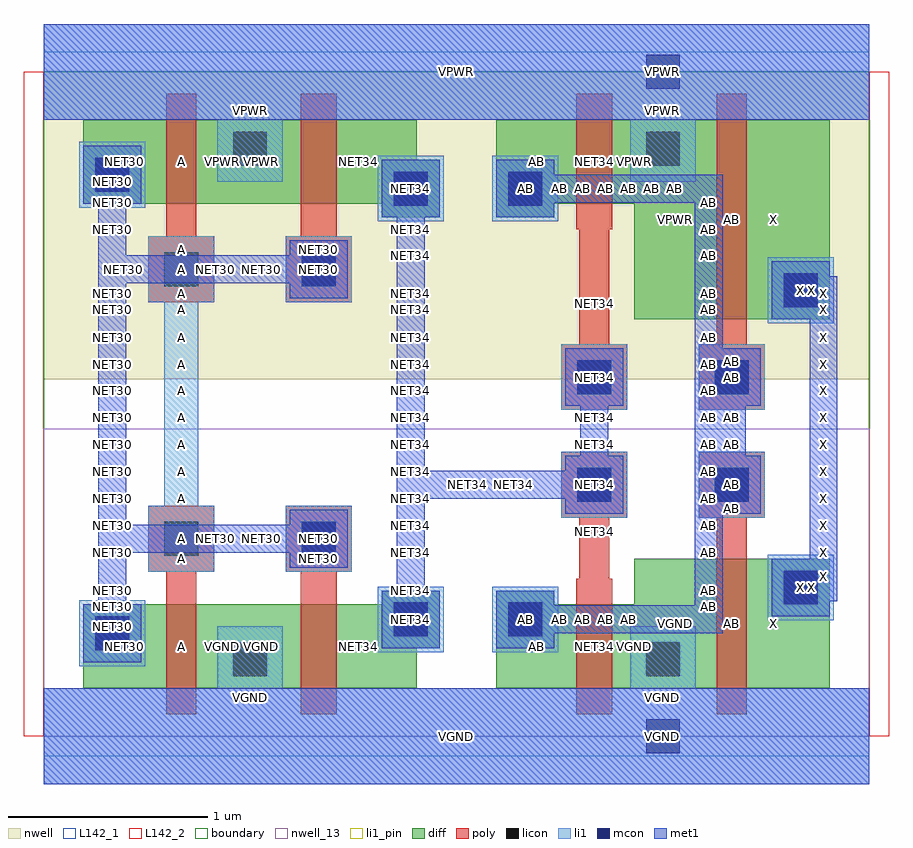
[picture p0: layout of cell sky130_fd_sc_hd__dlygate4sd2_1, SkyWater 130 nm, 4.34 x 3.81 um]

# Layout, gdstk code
import gdstk
lib = gdstk.Library(unit=1e-6, precision=1e-09)
def R(c, l, rs):  # rectangles x0, y0, x1, y1
    for r in rs: c.add(gdstk.rectangle(r[:2], r[2:], *l))
def P(c, l, *ps):  # polygons
    for p in ps: c.add(gdstk.Polygon(p, *l))
nwell_13 = (64, 13)
nwell = (64, 20)
diff = (65, 20)
poly = (66, 20)
licon = (66, 44)
li1_pin = (67, 16)
li1 = (67, 20)
mcon = (67, 44)
met1 = (68, 20)
L142_1 = (142, 1)
L142_2 = (142, 2)
boundary = (235, 4)

sky130_fd_sc_hd__dlygate = lib.new_cell('sky130_fd_sc_hd__dlygate4sd2_1')
R(sky130_fd_sc_hd__dlygate, nwell_13, [(0,0,4.14,1.54)])
R(sky130_fd_sc_hd__dlygate, nwell, [(0,1.79,4.14,3.33)])
R(sky130_fd_sc_hd__dlygate, diff, [(0.2,0.24,1.87,0.66), (0.2,0.24,0.615,0.66), (0.615,0.24,1.29,0.66), (3.375,0.24,3.94,0.89), (3.375,2.09,3.94,3.09), (0.2,2.67,1.87,3.09), (0.2,2.67,0.615,3.09), (0.615,2.67,1.29,3.09)])
P(sky130_fd_sc_hd__dlygate, diff, [(2.27,0.24),(2.27,0.66),(2.96,0.66),(2.96,0.89),(3.94,0.89),(3.94,0.24)],
  [(2.96,2.09),(2.96,2.67),(2.27,2.67),(2.27,3.09),(3.94,3.09),(3.94,2.09)],
  [(2.67,0.24),(2.67,0.66),(2.96,0.66),(2.96,0.89),(3.375,0.89),(3.375,0.24)],
  [(2.27,0.24),(2.27,0.73),(2.56,0.73),(2.56,0.66),(2.67,0.66),(2.67,0.24)],
  [(1.29,0.24),(1.29,0.66),(1.695,0.66),(1.695,0.73),(1.985,0.73),(1.985,0.44),(1.87,0.44),(1.87,0.24)],
  [(2.96,2.09),(2.96,2.67),(2.67,2.67),(2.67,3.09),(3.375,3.09),(3.375,2.09)],
  [(2.27,2.6),(2.27,3.09),(2.67,3.09),(2.67,2.67),(2.56,2.67),(2.56,2.6)],
  [(1.695,2.6),(1.695,2.67),(1.29,2.67),(1.29,3.09),(1.87,3.09),(1.87,2.89),(1.985,2.89),(1.985,2.6)])
R(sky130_fd_sc_hd__dlygate, poly, [(1.29,0.79,1.305,0.825), (1.455,0.79,1.47,0.825), (1.29,2.505,1.305,2.54), (1.455,2.505,1.47,2.54)])
P(sky130_fd_sc_hd__dlygate, poly, [(1.29,0.11),(1.29,0.79),(1.305,0.79),(1.305,0.825),(1.215,0.825),(1.215,1.155),(1.545,1.155),(1.545,0.825),(1.455,0.825),(1.455,0.79),(1.47,0.79),(1.47,0.11)],
  [(1.215,2.175),(1.215,2.505),(1.305,2.505),(1.305,2.54),(1.29,2.54),(1.29,3.22),(1.47,3.22),(1.47,2.54),(1.455,2.54),(1.455,2.505),(1.545,2.505),(1.545,2.175)],
  [(0.615,0.11),(0.615,0.825),(0.525,0.825),(0.525,1.155),(0.855,1.155),(0.855,0.825),(0.765,0.825),(0.765,0.11)],
  [(0.525,2.175),(0.525,2.505),(0.615,2.505),(0.615,3.22),(0.765,3.22),(0.765,2.505),(0.855,2.505),(0.855,2.175)],
  [(3.375,0.11),(3.375,1.095),(3.285,1.095),(3.285,1.425),(3.615,1.425),(3.615,1.095),(3.525,1.095),(3.525,0.11)],
  [(3.285,1.635),(3.285,1.965),(3.375,1.965),(3.375,3.22),(3.525,3.22),(3.525,1.965),(3.615,1.965),(3.615,1.635)],
  [(2.67,0.11),(2.67,0.79),(2.685,0.79),(2.685,1.095),(2.595,1.095),(2.595,1.425),(2.925,1.425),(2.925,1.095),(2.835,1.095),(2.835,0.79),(2.85,0.79),(2.85,0.11)],
  [(2.595,1.635),(2.595,1.965),(2.685,1.965),(2.685,2.54),(2.67,2.54),(2.67,3.22),(2.85,3.22),(2.85,2.54),(2.835,2.54),(2.835,1.965),(2.925,1.965),(2.925,1.635)])
R(sky130_fd_sc_hd__dlygate, licon, [(0.95,0.3,1.12,0.47), (3.02,0.3,3.19,0.47), (0.26,0.43,0.43,0.6), (1.755,0.5,1.925,0.67), (2.33,0.5,2.5,0.67), (3.71,0.66,3.88,0.83), (0.605,0.905,0.775,1.075), (1.295,0.905,1.465,1.075), (2.675,1.175,2.845,1.345), (3.365,1.175,3.535,1.345), (2.675,1.715,2.845,1.885), (3.365,1.715,3.535,1.885), (3.71,2.15,3.88,2.32), (0.605,2.255,0.775,2.425), (1.295,2.255,1.465,2.425), (1.755,2.66,1.925,2.83), (2.33,2.66,2.5,2.83), (0.26,2.73,0.43,2.9), (0.95,2.86,1.12,3.03), (3.02,2.86,3.19,3.03)])
R(sky130_fd_sc_hd__dlygate, li1_pin, [(0,-0.24,4.14,0.24), (3.63,0.58,3.96,0.91), (0,3.09,4.14,3.57)])
P(sky130_fd_sc_hd__dlygate, li1_pin, [(0.525,0.825),(0.525,1.155),(0.605,1.155),(0.605,2.175),(0.525,2.175),(0.525,2.505),(0.855,2.505),(0.855,2.175),(0.775,2.175),(0.775,1.155),(0.855,1.155),(0.855,0.825)])
R(sky130_fd_sc_hd__dlygate, li1, [(0.18,0.35,0.51,0.68), (1.675,0.42,2.005,0.75), (2.25,0.42,2.58,0.75), (3.63,0.58,3.96,0.91), (1.215,0.825,1.545,1.155), (2.595,1.095,2.925,1.425), (3.285,1.095,3.615,1.425), (2.595,1.635,2.925,1.965), (3.285,1.635,3.615,1.965), (3.63,2.07,3.96,2.4), (1.215,2.175,1.545,2.505), (1.675,2.58,2.005,2.91), (2.25,2.58,2.58,2.91), (0.18,2.65,0.51,2.98)])
P(sky130_fd_sc_hd__dlygate, li1, [(0.87,2.78),(0.87,3.09),(0,3.09),(0,3.57),(4.14,3.57),(4.14,3.09),(3.27,3.09),(3.27,2.78),(2.94,2.78),(2.94,3.09),(1.2,3.09),(1.2,2.78)],
  [(0,-0.24),(0,0.24),(0.87,0.24),(0.87,0.55),(1.2,0.55),(1.2,0.24),(2.94,0.24),(2.94,0.55),(3.27,0.55),(3.27,0.24),(4.14,0.24),(4.14,-0.24)],
  [(0.525,0.825),(0.525,1.155),(0.605,1.155),(0.605,2.175),(0.525,2.175),(0.525,2.505),(0.855,2.505),(0.855,2.175),(0.775,2.175),(0.775,1.155),(0.855,1.155),(0.855,0.825)])
R(sky130_fd_sc_hd__dlygate, mcon, [(3.02,-0.085,3.19,0.085), (0.26,0.43,0.43,0.6), (1.755,0.5,1.925,0.67), (2.33,0.5,2.5,0.67), (3.71,0.66,3.88,0.83), (1.295,0.905,1.465,1.075), (2.675,1.175,2.845,1.345), (3.365,1.175,3.535,1.345), (2.675,1.715,2.845,1.885), (3.365,1.715,3.535,1.885), (3.71,2.15,3.88,2.32), (1.295,2.255,1.465,2.425), (1.755,2.66,1.925,2.83), (2.33,2.66,2.5,2.83), (0.26,2.73,0.43,2.9), (3.02,3.245,3.19,3.415)])
R(sky130_fd_sc_hd__dlygate, met1, [(0,-0.24,4.14,0.24), (0,3.09,4.14,3.57)])
P(sky130_fd_sc_hd__dlygate, met1, [(0.2,0.37),(0.2,0.66),(0.275,0.66),(0.275,2.67),(0.2,2.67),(0.2,2.96),(0.49,2.96),(0.49,2.67),(0.415,2.67),(0.415,2.41),(1.235,2.41),(1.235,2.485),(1.525,2.485),(1.525,2.195),(1.235,2.195),(1.235,2.27),(0.415,2.27),(0.415,1.06),(1.235,1.06),(1.235,1.135),(1.525,1.135),(1.525,0.845),(1.235,0.845),(1.235,0.92),(0.415,0.92),(0.415,0.66),(0.49,0.66),(0.49,0.37)],
  [(2.27,0.44),(2.27,0.73),(2.56,0.73),(2.56,0.655),(3.265,0.655),(3.265,2.675),(2.56,2.675),(2.56,2.6),(2.27,2.6),(2.27,2.89),(2.56,2.89),(2.56,2.815),(3.405,2.815),(3.405,1.945),(3.595,1.945),(3.595,1.655),(3.52,1.655),(3.52,1.405),(3.595,1.405),(3.595,1.115),(3.405,1.115),(3.405,0.515),(2.56,0.515),(2.56,0.44)],
  [(3.65,0.6),(3.65,0.89),(3.84,0.89),(3.84,2.09),(3.65,2.09),(3.65,2.38),(3.94,2.38),(3.94,2.305),(3.98,2.305),(3.98,0.675),(3.94,0.675),(3.94,0.6)],
  [(1.695,0.44),(1.695,0.73),(1.77,0.73),(1.77,2.6),(1.695,2.6),(1.695,2.89),(1.985,2.89),(1.985,2.6),(1.91,2.6),(1.91,1.33),(2.615,1.33),(2.615,1.405),(2.69,1.405),(2.69,1.655),(2.615,1.655),(2.615,1.945),(2.905,1.945),(2.905,1.655),(2.83,1.655),(2.83,1.405),(2.905,1.405),(2.905,1.115),(2.615,1.115),(2.615,1.19),(1.91,1.19),(1.91,0.73),(1.985,0.73),(1.985,0.44)])
R(sky130_fd_sc_hd__dlygate, L142_1, [(0,-0.1,4.14,0), (0,3.33,4.14,3.43)])
R(sky130_fd_sc_hd__dlygate, L142_2, [(-0.1,0,0,3.33), (4.14,0,4.24,3.33)])
R(sky130_fd_sc_hd__dlygate, boundary, [(0,0,4.14,3.33)])
sky130_fd_sc_hd__dlygate.add(gdstk.Label('VGND', (3.167,0.565), layer=65, texttype=20))
sky130_fd_sc_hd__dlygate.add(gdstk.Label('X', (3.657,0.565), layer=65, texttype=20))
sky130_fd_sc_hd__dlygate.add(gdstk.Label('NET30', (0.407,0.45), layer=65, texttype=20))
sky130_fd_sc_hd__dlygate.add(gdstk.Label('VGND', (0.897,0.45), layer=65, texttype=20))
sky130_fd_sc_hd__dlygate.add(gdstk.Label('VGND', (1.09,0.45), layer=65, texttype=20))
sky130_fd_sc_hd__dlygate.add(gdstk.Label('NET34', (1.58,0.45), layer=65, texttype=20))
sky130_fd_sc_hd__dlygate.add(gdstk.Label('AB', (2.47,0.45), layer=65, texttype=20))
sky130_fd_sc_hd__dlygate.add(gdstk.Label('VGND', (2.96,0.45), layer=65, texttype=20))
sky130_fd_sc_hd__dlygate.add(gdstk.Label('VGND', (3.167,0.565), layer=65, texttype=20))
sky130_fd_sc_hd__dlygate.add(gdstk.Label('X', (3.657,0.565), layer=65, texttype=20))
sky130_fd_sc_hd__dlygate.add(gdstk.Label('NET30', (0.407,0.45), layer=65, texttype=20))
sky130_fd_sc_hd__dlygate.add(gdstk.Label('VGND', (0.897,0.45), layer=65, texttype=20))
sky130_fd_sc_hd__dlygate.add(gdstk.Label('VGND', (1.09,0.45), layer=65, texttype=20))
sky130_fd_sc_hd__dlygate.add(gdstk.Label('NET34', (1.58,0.45), layer=65, texttype=20))
sky130_fd_sc_hd__dlygate.add(gdstk.Label('AB', (2.47,0.45), layer=65, texttype=20))
sky130_fd_sc_hd__dlygate.add(gdstk.Label('VGND', (2.96,0.45), layer=65, texttype=20))
sky130_fd_sc_hd__dlygate.add(gdstk.Label('VGND', (3.105,0.385), layer=65, texttype=20))
sky130_fd_sc_hd__dlygate.add(gdstk.Label('VGND', (1.035,0.385), layer=65, texttype=20))
sky130_fd_sc_hd__dlygate.add(gdstk.Label('X', (3.795,0.745), layer=65, texttype=20))
sky130_fd_sc_hd__dlygate.add(gdstk.Label('NET30', (0.345,0.515), layer=65, texttype=20))
sky130_fd_sc_hd__dlygate.add(gdstk.Label('NET34', (1.84,0.585), layer=65, texttype=20))
sky130_fd_sc_hd__dlygate.add(gdstk.Label('AB', (2.415,0.585), layer=65, texttype=20))
sky130_fd_sc_hd__dlygate.add(gdstk.Label('VPWR', (3.167,2.59), layer=65, texttype=20))
sky130_fd_sc_hd__dlygate.add(gdstk.Label('X', (3.657,2.59), layer=65, texttype=20))
sky130_fd_sc_hd__dlygate.add(gdstk.Label('VPWR', (1.09,2.88), layer=65, texttype=20))
sky130_fd_sc_hd__dlygate.add(gdstk.Label('NET34', (1.58,2.88), layer=65, texttype=20))
sky130_fd_sc_hd__dlygate.add(gdstk.Label('AB', (2.47,2.88), layer=65, texttype=20))
sky130_fd_sc_hd__dlygate.add(gdstk.Label('VPWR', (2.96,2.88), layer=65, texttype=20))
sky130_fd_sc_hd__dlygate.add(gdstk.Label('NET30', (0.407,2.88), layer=65, texttype=20))
sky130_fd_sc_hd__dlygate.add(gdstk.Label('VPWR', (0.897,2.88), layer=65, texttype=20))
sky130_fd_sc_hd__dlygate.add(gdstk.Label('VPWR', (3.167,2.59), layer=65, texttype=20))
sky130_fd_sc_hd__dlygate.add(gdstk.Label('X', (3.657,2.59), layer=65, texttype=20))
sky130_fd_sc_hd__dlygate.add(gdstk.Label('VPWR', (1.09,2.88), layer=65, texttype=20))
sky130_fd_sc_hd__dlygate.add(gdstk.Label('NET34', (1.58,2.88), layer=65, texttype=20))
sky130_fd_sc_hd__dlygate.add(gdstk.Label('AB', (2.47,2.88), layer=65, texttype=20))
sky130_fd_sc_hd__dlygate.add(gdstk.Label('VPWR', (2.96,2.88), layer=65, texttype=20))
sky130_fd_sc_hd__dlygate.add(gdstk.Label('NET30', (0.407,2.88), layer=65, texttype=20))
sky130_fd_sc_hd__dlygate.add(gdstk.Label('VPWR', (0.897,2.88), layer=65, texttype=20))
sky130_fd_sc_hd__dlygate.add(gdstk.Label('X', (3.795,2.235), layer=65, texttype=20))
sky130_fd_sc_hd__dlygate.add(gdstk.Label('NET30', (0.345,2.815), layer=65, texttype=20))
sky130_fd_sc_hd__dlygate.add(gdstk.Label('NET34', (1.84,2.745), layer=65, texttype=20))
sky130_fd_sc_hd__dlygate.add(gdstk.Label('AB', (2.415,2.745), layer=65, texttype=20))
sky130_fd_sc_hd__dlygate.add(gdstk.Label('VPWR', (3.105,2.945), layer=65, texttype=20))
sky130_fd_sc_hd__dlygate.add(gdstk.Label('VPWR', (1.035,2.945), layer=65, texttype=20))
sky130_fd_sc_hd__dlygate.add(gdstk.Label('AB', (3.45,0.565), layer=66, texttype=20))
sky130_fd_sc_hd__dlygate.add(gdstk.Label('AB', (3.45,2.59), layer=66, texttype=20))
sky130_fd_sc_hd__dlygate.add(gdstk.Label('A', (0.69,0.45), layer=66, texttype=20))
sky130_fd_sc_hd__dlygate.add(gdstk.Label('NET30', (1.38,2.88), layer=66, texttype=20))
sky130_fd_sc_hd__dlygate.add(gdstk.Label('NET30', (1.38,0.45), layer=66, texttype=20))
sky130_fd_sc_hd__dlygate.add(gdstk.Label('NET34', (2.76,2.88), layer=66, texttype=20))
sky130_fd_sc_hd__dlygate.add(gdstk.Label('NET34', (2.76,0.45), layer=66, texttype=20))
sky130_fd_sc_hd__dlygate.add(gdstk.Label('A', (0.69,2.88), layer=66, texttype=20))
sky130_fd_sc_hd__dlygate.add(gdstk.Label('AB', (3.45,0.565), layer=66, texttype=20))
sky130_fd_sc_hd__dlygate.add(gdstk.Label('AB', (3.45,2.59), layer=66, texttype=20))
sky130_fd_sc_hd__dlygate.add(gdstk.Label('A', (0.69,0.45), layer=66, texttype=20))
sky130_fd_sc_hd__dlygate.add(gdstk.Label('NET30', (1.38,2.88), layer=66, texttype=20))
sky130_fd_sc_hd__dlygate.add(gdstk.Label('NET30', (1.38,0.45), layer=66, texttype=20))
sky130_fd_sc_hd__dlygate.add(gdstk.Label('NET34', (2.76,2.88), layer=66, texttype=20))
sky130_fd_sc_hd__dlygate.add(gdstk.Label('NET34', (2.76,0.45), layer=66, texttype=20))
sky130_fd_sc_hd__dlygate.add(gdstk.Label('A', (0.69,2.88), layer=66, texttype=20))
sky130_fd_sc_hd__dlygate.add(gdstk.Label('NET30', (1.38,0.89), layer=66, texttype=20))
sky130_fd_sc_hd__dlygate.add(gdstk.Label('NET30', (1.38,2.44), layer=66, texttype=20))
sky130_fd_sc_hd__dlygate.add(gdstk.Label('NET34', (2.76,1.025), layer=66, texttype=20))
sky130_fd_sc_hd__dlygate.add(gdstk.Label('NET34', (2.76,2.17), layer=66, texttype=20))
sky130_fd_sc_hd__dlygate.add(gdstk.Label('AB', (3.45,1.14), layer=66, texttype=20))
sky130_fd_sc_hd__dlygate.add(gdstk.Label('AB', (3.45,1.88), layer=66, texttype=20))
sky130_fd_sc_hd__dlygate.add(gdstk.Label('A', (0.69,0.89), layer=66, texttype=20))
sky130_fd_sc_hd__dlygate.add(gdstk.Label('A', (0.69,2.44), layer=66, texttype=20))
sky130_fd_sc_hd__dlygate.add(gdstk.Label('NET30', (1.38,0.99), layer=66, texttype=20))
sky130_fd_sc_hd__dlygate.add(gdstk.Label('NET30', (1.38,2.34), layer=66, texttype=20))
sky130_fd_sc_hd__dlygate.add(gdstk.Label('NET34', (2.76,1.26), layer=66, texttype=20))
sky130_fd_sc_hd__dlygate.add(gdstk.Label('NET34', (2.76,1.8), layer=66, texttype=20))
sky130_fd_sc_hd__dlygate.add(gdstk.Label('AB', (3.45,1.26), layer=66, texttype=20))
sky130_fd_sc_hd__dlygate.add(gdstk.Label('AB', (3.45,1.8), layer=66, texttype=20))
sky130_fd_sc_hd__dlygate.add(gdstk.Label('A', (0.69,0.99), layer=66, texttype=20))
sky130_fd_sc_hd__dlygate.add(gdstk.Label('A', (0.69,2.34), layer=66, texttype=20))
sky130_fd_sc_hd__dlygate.add(gdstk.Label('X', (3.795,2.235), layer=66, texttype=44))
sky130_fd_sc_hd__dlygate.add(gdstk.Label('NET30', (0.345,2.815), layer=66, texttype=44))
sky130_fd_sc_hd__dlygate.add(gdstk.Label('NET34', (1.84,2.745), layer=66, texttype=44))
sky130_fd_sc_hd__dlygate.add(gdstk.Label('AB', (2.415,2.745), layer=66, texttype=44))
sky130_fd_sc_hd__dlygate.add(gdstk.Label('VPWR', (3.105,2.945), layer=66, texttype=44))
sky130_fd_sc_hd__dlygate.add(gdstk.Label('VPWR', (1.035,2.945), layer=66, texttype=44))
sky130_fd_sc_hd__dlygate.add(gdstk.Label('VGND', (3.105,0.385), layer=66, texttype=44))
sky130_fd_sc_hd__dlygate.add(gdstk.Label('VGND', (1.035,0.385), layer=66, texttype=44))
sky130_fd_sc_hd__dlygate.add(gdstk.Label('X', (3.795,0.745), layer=66, texttype=44))
sky130_fd_sc_hd__dlygate.add(gdstk.Label('NET30', (0.345,0.515), layer=66, texttype=44))
sky130_fd_sc_hd__dlygate.add(gdstk.Label('NET34', (1.84,0.585), layer=66, texttype=44))
sky130_fd_sc_hd__dlygate.add(gdstk.Label('AB', (2.415,0.585), layer=66, texttype=44))
sky130_fd_sc_hd__dlygate.add(gdstk.Label('NET30', (1.38,0.99), layer=66, texttype=44))
sky130_fd_sc_hd__dlygate.add(gdstk.Label('NET30', (1.38,2.34), layer=66, texttype=44))
sky130_fd_sc_hd__dlygate.add(gdstk.Label('NET34', (2.76,1.26), layer=66, texttype=44))
sky130_fd_sc_hd__dlygate.add(gdstk.Label('NET34', (2.76,1.8), layer=66, texttype=44))
sky130_fd_sc_hd__dlygate.add(gdstk.Label('AB', (3.45,1.26), layer=66, texttype=44))
sky130_fd_sc_hd__dlygate.add(gdstk.Label('AB', (3.45,1.8), layer=66, texttype=44))
sky130_fd_sc_hd__dlygate.add(gdstk.Label('A', (0.69,0.99), layer=66, texttype=44))
sky130_fd_sc_hd__dlygate.add(gdstk.Label('A', (0.69,2.34), layer=66, texttype=44))
sky130_fd_sc_hd__dlygate.add(gdstk.Label('VPWR', (2.07,3.33), layer=67, texttype=20))
sky130_fd_sc_hd__dlygate.add(gdstk.Label('VGND', (2.07,0), layer=67, texttype=20))
sky130_fd_sc_hd__dlygate.add(gdstk.Label('VPWR', (2.07,3.33), layer=67, texttype=20))
sky130_fd_sc_hd__dlygate.add(gdstk.Label('VGND', (2.07,0), layer=67, texttype=20))
sky130_fd_sc_hd__dlygate.add(gdstk.Label('VGND', (3.105,0.192), layer=67, texttype=20))
sky130_fd_sc_hd__dlygate.add(gdstk.Label('VGND', (1.035,0.192), layer=67, texttype=20))
sky130_fd_sc_hd__dlygate.add(gdstk.Label('VPWR', (3.105,3.137), layer=67, texttype=20))
sky130_fd_sc_hd__dlygate.add(gdstk.Label('VPWR', (1.035,3.137), layer=67, texttype=20))
sky130_fd_sc_hd__dlygate.add(gdstk.Label('A', (0.69,1.057), layer=67, texttype=20))
sky130_fd_sc_hd__dlygate.add(gdstk.Label('A', (0.69,1.192), layer=67, texttype=20))
sky130_fd_sc_hd__dlygate.add(gdstk.Label('A', (0.69,1.327), layer=67, texttype=20))
sky130_fd_sc_hd__dlygate.add(gdstk.Label('A', (0.69,1.462), layer=67, texttype=20))
sky130_fd_sc_hd__dlygate.add(gdstk.Label('A', (0.69,1.597), layer=67, texttype=20))
sky130_fd_sc_hd__dlygate.add(gdstk.Label('A', (0.69,1.732), layer=67, texttype=20))
sky130_fd_sc_hd__dlygate.add(gdstk.Label('A', (0.69,1.862), layer=67, texttype=20))
sky130_fd_sc_hd__dlygate.add(gdstk.Label('A', (0.69,1.997), layer=67, texttype=20))
sky130_fd_sc_hd__dlygate.add(gdstk.Label('A', (0.69,2.137), layer=67, texttype=20))
sky130_fd_sc_hd__dlygate.add(gdstk.Label('A', (0.69,2.22), layer=67, texttype=20))
sky130_fd_sc_hd__dlygate.add(gdstk.Label('A', (0.69,2.287), layer=67, texttype=20))
sky130_fd_sc_hd__dlygate.add(gdstk.Label('VGND', (3.105,0.385), layer=67, texttype=20))
sky130_fd_sc_hd__dlygate.add(gdstk.Label('VGND', (3.105,0), layer=67, texttype=20))
sky130_fd_sc_hd__dlygate.add(gdstk.Label('VGND', (1.035,0.385), layer=67, texttype=20))
sky130_fd_sc_hd__dlygate.add(gdstk.Label('X', (3.795,0.745), layer=67, texttype=20))
sky130_fd_sc_hd__dlygate.add(gdstk.Label('X', (3.795,0.745), layer=67, texttype=20))
sky130_fd_sc_hd__dlygate.add(gdstk.Label('X', (3.795,2.235), layer=67, texttype=20))
sky130_fd_sc_hd__dlygate.add(gdstk.Label('X', (3.795,2.235), layer=67, texttype=20))
sky130_fd_sc_hd__dlygate.add(gdstk.Label('NET30', (0.345,0.515), layer=67, texttype=20))
sky130_fd_sc_hd__dlygate.add(gdstk.Label('NET30', (0.345,0.515), layer=67, texttype=20))
sky130_fd_sc_hd__dlygate.add(gdstk.Label('NET30', (0.345,2.815), layer=67, texttype=20))
sky130_fd_sc_hd__dlygate.add(gdstk.Label('NET30', (0.345,2.815), layer=67, texttype=20))
sky130_fd_sc_hd__dlygate.add(gdstk.Label('NET30', (1.38,0.99), layer=67, texttype=20))
sky130_fd_sc_hd__dlygate.add(gdstk.Label('NET30', (1.38,0.99), layer=67, texttype=20))
sky130_fd_sc_hd__dlygate.add(gdstk.Label('NET30', (1.38,2.34), layer=67, texttype=20))
sky130_fd_sc_hd__dlygate.add(gdstk.Label('NET30', (1.38,2.34), layer=67, texttype=20))
sky130_fd_sc_hd__dlygate.add(gdstk.Label('NET34', (1.84,0.585), layer=67, texttype=20))
sky130_fd_sc_hd__dlygate.add(gdstk.Label('NET34', (1.84,0.585), layer=67, texttype=20))
sky130_fd_sc_hd__dlygate.add(gdstk.Label('NET34', (2.76,1.26), layer=67, texttype=20))
sky130_fd_sc_hd__dlygate.add(gdstk.Label('NET34', (2.76,1.26), layer=67, texttype=20))
sky130_fd_sc_hd__dlygate.add(gdstk.Label('NET34', (2.76,1.8), layer=67, texttype=20))
sky130_fd_sc_hd__dlygate.add(gdstk.Label('NET34', (2.76,1.8), layer=67, texttype=20))
sky130_fd_sc_hd__dlygate.add(gdstk.Label('NET34', (1.84,2.745), layer=67, texttype=20))
sky130_fd_sc_hd__dlygate.add(gdstk.Label('NET34', (1.84,2.745), layer=67, texttype=20))
sky130_fd_sc_hd__dlygate.add(gdstk.Label('AB', (2.415,0.585), layer=67, texttype=20))
sky130_fd_sc_hd__dlygate.add(gdstk.Label('AB', (2.415,0.585), layer=67, texttype=20))
sky130_fd_sc_hd__dlygate.add(gdstk.Label('AB', (3.45,1.26), layer=67, texttype=20))
sky130_fd_sc_hd__dlygate.add(gdstk.Label('AB', (3.45,1.26), layer=67, texttype=20))
sky130_fd_sc_hd__dlygate.add(gdstk.Label('AB', (3.45,1.8), layer=67, texttype=20))
sky130_fd_sc_hd__dlygate.add(gdstk.Label('AB', (3.45,1.8), layer=67, texttype=20))
sky130_fd_sc_hd__dlygate.add(gdstk.Label('AB', (2.415,2.745), layer=67, texttype=20))
sky130_fd_sc_hd__dlygate.add(gdstk.Label('AB', (2.415,2.745), layer=67, texttype=20))
sky130_fd_sc_hd__dlygate.add(gdstk.Label('VPWR', (3.105,2.945), layer=67, texttype=20))
sky130_fd_sc_hd__dlygate.add(gdstk.Label('VPWR', (3.105,3.33), layer=67, texttype=20))
sky130_fd_sc_hd__dlygate.add(gdstk.Label('VPWR', (1.035,2.945), layer=67, texttype=20))
sky130_fd_sc_hd__dlygate.add(gdstk.Label('A', (0.69,0.99), layer=67, texttype=20))
sky130_fd_sc_hd__dlygate.add(gdstk.Label('A', (0.69,2.34), layer=67, texttype=20))
sky130_fd_sc_hd__dlygate.add(gdstk.Label('X', (3.795,0.745), layer=67, texttype=5))
sky130_fd_sc_hd__dlygate.add(gdstk.Label('A', (0.69,0.99), layer=67, texttype=5))
sky130_fd_sc_hd__dlygate.add(gdstk.Label('VGND', (2.07,0), layer=67, texttype=5))
sky130_fd_sc_hd__dlygate.add(gdstk.Label('VPWR', (2.07,3.33), layer=67, texttype=5))
sky130_fd_sc_hd__dlygate.add(gdstk.Label('VGND', (3.105,0), layer=67, texttype=44))
sky130_fd_sc_hd__dlygate.add(gdstk.Label('X', (3.795,0.745), layer=67, texttype=44))
sky130_fd_sc_hd__dlygate.add(gdstk.Label('X', (3.795,2.235), layer=67, texttype=44))
sky130_fd_sc_hd__dlygate.add(gdstk.Label('NET30', (0.345,0.515), layer=67, texttype=44))
sky130_fd_sc_hd__dlygate.add(gdstk.Label('NET30', (0.345,2.815), layer=67, texttype=44))
sky130_fd_sc_hd__dlygate.add(gdstk.Label('NET30', (1.38,0.99), layer=67, texttype=44))
sky130_fd_sc_hd__dlygate.add(gdstk.Label('NET30', (1.38,2.34), layer=67, texttype=44))
sky130_fd_sc_hd__dlygate.add(gdstk.Label('NET34', (1.84,0.585), layer=67, texttype=44))
sky130_fd_sc_hd__dlygate.add(gdstk.Label('NET34', (2.76,1.26), layer=67, texttype=44))
sky130_fd_sc_hd__dlygate.add(gdstk.Label('NET34', (2.76,1.8), layer=67, texttype=44))
sky130_fd_sc_hd__dlygate.add(gdstk.Label('NET34', (1.84,2.745), layer=67, texttype=44))
sky130_fd_sc_hd__dlygate.add(gdstk.Label('AB', (2.415,0.585), layer=67, texttype=44))
sky130_fd_sc_hd__dlygate.add(gdstk.Label('AB', (3.45,1.26), layer=67, texttype=44))
sky130_fd_sc_hd__dlygate.add(gdstk.Label('AB', (3.45,1.8), layer=67, texttype=44))
sky130_fd_sc_hd__dlygate.add(gdstk.Label('AB', (2.415,2.745), layer=67, texttype=44))
sky130_fd_sc_hd__dlygate.add(gdstk.Label('VPWR', (3.105,3.33), layer=67, texttype=44))
sky130_fd_sc_hd__dlygate.add(gdstk.Label('X', (3.91,1.732), layer=68, texttype=20))
sky130_fd_sc_hd__dlygate.add(gdstk.Label('NET34', (2.76,1.732), layer=68, texttype=20))
sky130_fd_sc_hd__dlygate.add(gdstk.Label('AB', (3.45,1.732), layer=68, texttype=20))
sky130_fd_sc_hd__dlygate.add(gdstk.Label('AB', (3.335,1.732), layer=68, texttype=20))
sky130_fd_sc_hd__dlygate.add(gdstk.Label('X', (3.91,2.137), layer=68, texttype=20))
sky130_fd_sc_hd__dlygate.add(gdstk.Label('X', (3.91,2.22), layer=68, texttype=20))
sky130_fd_sc_hd__dlygate.add(gdstk.Label('X', (3.852,2.235), layer=68, texttype=20))
sky130_fd_sc_hd__dlygate.add(gdstk.Label('X', (3.91,1.862), layer=68, texttype=20))
sky130_fd_sc_hd__dlygate.add(gdstk.Label('X', (3.91,1.997), layer=68, texttype=20))
sky130_fd_sc_hd__dlygate.add(gdstk.Label('AB', (3.335,1.862), layer=68, texttype=20))
sky130_fd_sc_hd__dlygate.add(gdstk.Label('AB', (3.335,1.997), layer=68, texttype=20))
sky130_fd_sc_hd__dlygate.add(gdstk.Label('AB', (3.335,2.137), layer=68, texttype=20))
sky130_fd_sc_hd__dlygate.add(gdstk.Label('AB', (3.335,2.22), layer=68, texttype=20))
sky130_fd_sc_hd__dlygate.add(gdstk.Label('AB', (3.335,2.287), layer=68, texttype=20))
sky130_fd_sc_hd__dlygate.add(gdstk.Label('AB', (3.335,2.407), layer=68, texttype=20))
sky130_fd_sc_hd__dlygate.add(gdstk.Label('AB', (3.335,2.542), layer=68, texttype=20))
sky130_fd_sc_hd__dlygate.add(gdstk.Label('AB', (3.335,2.677), layer=68, texttype=20))
sky130_fd_sc_hd__dlygate.add(gdstk.Label('AB', (3.277,2.745), layer=68, texttype=20))
sky130_fd_sc_hd__dlygate.add(gdstk.Label('AB', (3.162,2.745), layer=68, texttype=20))
sky130_fd_sc_hd__dlygate.add(gdstk.Label('AB', (3.047,2.745), layer=68, texttype=20))
sky130_fd_sc_hd__dlygate.add(gdstk.Label('AB', (2.932,2.745), layer=68, texttype=20))
sky130_fd_sc_hd__dlygate.add(gdstk.Label('AB', (2.817,2.745), layer=68, texttype=20))
sky130_fd_sc_hd__dlygate.add(gdstk.Label('AB', (2.702,2.745), layer=68, texttype=20))
sky130_fd_sc_hd__dlygate.add(gdstk.Label('AB', (2.587,2.745), layer=68, texttype=20))
sky130_fd_sc_hd__dlygate.add(gdstk.Label('AB', (2.472,2.745), layer=68, texttype=20))
sky130_fd_sc_hd__dlygate.add(gdstk.Label('X', (3.795,2.235), layer=68, texttype=20))
sky130_fd_sc_hd__dlygate.add(gdstk.Label('NET34', (2.76,1.8), layer=68, texttype=20))
sky130_fd_sc_hd__dlygate.add(gdstk.Label('AB', (3.45,1.8), layer=68, texttype=20))
sky130_fd_sc_hd__dlygate.add(gdstk.Label('AB', (2.415,2.745), layer=68, texttype=20))
sky130_fd_sc_hd__dlygate.add(gdstk.Label('VPWR', (3.105,3.33), layer=68, texttype=20))
sky130_fd_sc_hd__dlygate.add(gdstk.Label('NET34', (1.84,2.22), layer=68, texttype=20))
sky130_fd_sc_hd__dlygate.add(gdstk.Label('NET34', (1.84,2.287), layer=68, texttype=20))
sky130_fd_sc_hd__dlygate.add(gdstk.Label('NET34', (1.84,2.407), layer=68, texttype=20))
sky130_fd_sc_hd__dlygate.add(gdstk.Label('NET34', (1.84,2.542), layer=68, texttype=20))
sky130_fd_sc_hd__dlygate.add(gdstk.Label('NET34', (1.84,2.677), layer=68, texttype=20))
sky130_fd_sc_hd__dlygate.add(gdstk.Label('NET30', (0.402,2.34), layer=68, texttype=20))
sky130_fd_sc_hd__dlygate.add(gdstk.Label('NET30', (0.345,2.542), layer=68, texttype=20))
sky130_fd_sc_hd__dlygate.add(gdstk.Label('NET30', (0.345,2.677), layer=68, texttype=20))
sky130_fd_sc_hd__dlygate.add(gdstk.Label('NET30', (0.345,2.78), layer=68, texttype=20))
sky130_fd_sc_hd__dlygate.add(gdstk.Label('NET30', (0.517,2.34), layer=68, texttype=20))
sky130_fd_sc_hd__dlygate.add(gdstk.Label('NET30', (0.632,2.34), layer=68, texttype=20))
sky130_fd_sc_hd__dlygate.add(gdstk.Label('NET30', (0.747,2.34), layer=68, texttype=20))
sky130_fd_sc_hd__dlygate.add(gdstk.Label('NET30', (0.862,2.34), layer=68, texttype=20))
sky130_fd_sc_hd__dlygate.add(gdstk.Label('NET30', (0.977,2.34), layer=68, texttype=20))
sky130_fd_sc_hd__dlygate.add(gdstk.Label('NET30', (1.092,2.34), layer=68, texttype=20))
sky130_fd_sc_hd__dlygate.add(gdstk.Label('NET30', (1.207,2.34), layer=68, texttype=20))
sky130_fd_sc_hd__dlygate.add(gdstk.Label('NET30', (1.322,2.34), layer=68, texttype=20))
sky130_fd_sc_hd__dlygate.add(gdstk.Label('NET30', (0.345,1.862), layer=68, texttype=20))
sky130_fd_sc_hd__dlygate.add(gdstk.Label('NET30', (0.345,1.997), layer=68, texttype=20))
sky130_fd_sc_hd__dlygate.add(gdstk.Label('NET30', (0.345,2.137), layer=68, texttype=20))
sky130_fd_sc_hd__dlygate.add(gdstk.Label('NET30', (0.345,2.22), layer=68, texttype=20))
sky130_fd_sc_hd__dlygate.add(gdstk.Label('NET30', (0.345,2.287), layer=68, texttype=20))
sky130_fd_sc_hd__dlygate.add(gdstk.Label('NET30', (0.345,2.407), layer=68, texttype=20))
sky130_fd_sc_hd__dlygate.add(gdstk.Label('NET34', (1.84,1.862), layer=68, texttype=20))
sky130_fd_sc_hd__dlygate.add(gdstk.Label('NET34', (1.84,1.997), layer=68, texttype=20))
sky130_fd_sc_hd__dlygate.add(gdstk.Label('NET34', (1.84,1.732), layer=68, texttype=20))
sky130_fd_sc_hd__dlygate.add(gdstk.Label('NET30', (0.345,2.815), layer=68, texttype=20))
sky130_fd_sc_hd__dlygate.add(gdstk.Label('NET30', (1.38,2.34), layer=68, texttype=20))
sky130_fd_sc_hd__dlygate.add(gdstk.Label('VPWR', (2.07,3.33), layer=68, texttype=20))
sky130_fd_sc_hd__dlygate.add(gdstk.Label('NET34', (1.84,2.745), layer=68, texttype=20))
sky130_fd_sc_hd__dlygate.add(gdstk.Label('NET30', (0.345,1.732), layer=68, texttype=20))
sky130_fd_sc_hd__dlygate.add(gdstk.Label('VPWR', (2.07,3.33), layer=68, texttype=20))
sky130_fd_sc_hd__dlygate.add(gdstk.Label('NET34', (1.84,2.137), layer=68, texttype=20))
sky130_fd_sc_hd__dlygate.add(gdstk.Label('NET30', (1.322,0.99), layer=68, texttype=20))
sky130_fd_sc_hd__dlygate.add(gdstk.Label('NET30', (0.345,0.732), layer=68, texttype=20))
sky130_fd_sc_hd__dlygate.add(gdstk.Label('NET30', (0.345,0.8), layer=68, texttype=20))
sky130_fd_sc_hd__dlygate.add(gdstk.Label('NET30', (0.345,0.922), layer=68, texttype=20))
sky130_fd_sc_hd__dlygate.add(gdstk.Label('NET30', (0.345,1.057), layer=68, texttype=20))
sky130_fd_sc_hd__dlygate.add(gdstk.Label('NET30', (0.402,0.99), layer=68, texttype=20))
sky130_fd_sc_hd__dlygate.add(gdstk.Label('NET30', (0.345,1.192), layer=68, texttype=20))
sky130_fd_sc_hd__dlygate.add(gdstk.Label('NET30', (0.345,1.327), layer=68, texttype=20))
sky130_fd_sc_hd__dlygate.add(gdstk.Label('NET30', (0.345,1.462), layer=68, texttype=20))
sky130_fd_sc_hd__dlygate.add(gdstk.Label('NET34', (1.84,0.652), layer=68, texttype=20))
sky130_fd_sc_hd__dlygate.add(gdstk.Label('NET34', (1.84,0.732), layer=68, texttype=20))
sky130_fd_sc_hd__dlygate.add(gdstk.Label('NET34', (1.84,0.8), layer=68, texttype=20))
sky130_fd_sc_hd__dlygate.add(gdstk.Label('NET34', (1.84,0.922), layer=68, texttype=20))
sky130_fd_sc_hd__dlygate.add(gdstk.Label('NET34', (1.84,1.057), layer=68, texttype=20))
sky130_fd_sc_hd__dlygate.add(gdstk.Label('NET34', (1.84,1.192), layer=68, texttype=20))
sky130_fd_sc_hd__dlygate.add(gdstk.Label('NET34', (1.84,1.327), layer=68, texttype=20))
sky130_fd_sc_hd__dlygate.add(gdstk.Label('NET34', (1.897,1.26), layer=68, texttype=20))
sky130_fd_sc_hd__dlygate.add(gdstk.Label('NET30', (0.345,0.55), layer=68, texttype=20))
sky130_fd_sc_hd__dlygate.add(gdstk.Label('NET30', (0.345,0.652), layer=68, texttype=20))
sky130_fd_sc_hd__dlygate.add(gdstk.Label('NET30', (0.517,0.99), layer=68, texttype=20))
sky130_fd_sc_hd__dlygate.add(gdstk.Label('NET30', (0.632,0.99), layer=68, texttype=20))
sky130_fd_sc_hd__dlygate.add(gdstk.Label('NET34', (1.84,1.462), layer=68, texttype=20))
sky130_fd_sc_hd__dlygate.add(gdstk.Label('NET30', (0.747,0.99), layer=68, texttype=20))
sky130_fd_sc_hd__dlygate.add(gdstk.Label('NET30', (0.862,0.99), layer=68, texttype=20))
sky130_fd_sc_hd__dlygate.add(gdstk.Label('NET30', (0.977,0.99), layer=68, texttype=20))
sky130_fd_sc_hd__dlygate.add(gdstk.Label('NET34', (2.012,1.26), layer=68, texttype=20))
sky130_fd_sc_hd__dlygate.add(gdstk.Label('NET30', (0.345,0.515), layer=68, texttype=20))
sky130_fd_sc_hd__dlygate.add(gdstk.Label('NET34', (2.127,1.26), layer=68, texttype=20))
sky130_fd_sc_hd__dlygate.add(gdstk.Label('NET30', (1.38,0.99), layer=68, texttype=20))
sky130_fd_sc_hd__dlygate.add(gdstk.Label('VGND', (2.07,0), layer=68, texttype=20))
sky130_fd_sc_hd__dlygate.add(gdstk.Label('NET34', (1.84,0.585), layer=68, texttype=20))
sky130_fd_sc_hd__dlygate.add(gdstk.Label('NET34', (1.84,1.597), layer=68, texttype=20))
sky130_fd_sc_hd__dlygate.add(gdstk.Label('NET30', (0.345,1.597), layer=68, texttype=20))
sky130_fd_sc_hd__dlygate.add(gdstk.Label('VGND', (2.07,0), layer=68, texttype=20))
sky130_fd_sc_hd__dlygate.add(gdstk.Label('NET30', (1.092,0.99), layer=68, texttype=20))
sky130_fd_sc_hd__dlygate.add(gdstk.Label('NET30', (1.207,0.99), layer=68, texttype=20))
sky130_fd_sc_hd__dlygate.add(gdstk.Label('AB', (3.335,1.192), layer=68, texttype=20))
sky130_fd_sc_hd__dlygate.add(gdstk.Label('AB', (3.335,1.327), layer=68, texttype=20))
sky130_fd_sc_hd__dlygate.add(gdstk.Label('AB', (3.392,1.26), layer=68, texttype=20))
sky130_fd_sc_hd__dlygate.add(gdstk.Label('AB', (3.45,1.327), layer=68, texttype=20))
sky130_fd_sc_hd__dlygate.add(gdstk.Label('AB', (3.45,1.462), layer=68, texttype=20))
sky130_fd_sc_hd__dlygate.add(gdstk.Label('NET34', (2.76,1.462), layer=68, texttype=20))
sky130_fd_sc_hd__dlygate.add(gdstk.Label('X', (3.91,1.462), layer=68, texttype=20))
sky130_fd_sc_hd__dlygate.add(gdstk.Label('AB', (3.335,1.462), layer=68, texttype=20))
sky130_fd_sc_hd__dlygate.add(gdstk.Label('X', (3.852,0.745), layer=68, texttype=20))
sky130_fd_sc_hd__dlygate.add(gdstk.Label('X', (3.91,0.8), layer=68, texttype=20))
sky130_fd_sc_hd__dlygate.add(gdstk.Label('X', (3.91,0.922), layer=68, texttype=20))
sky130_fd_sc_hd__dlygate.add(gdstk.Label('X', (3.91,1.057), layer=68, texttype=20))
sky130_fd_sc_hd__dlygate.add(gdstk.Label('X', (3.91,1.192), layer=68, texttype=20))
sky130_fd_sc_hd__dlygate.add(gdstk.Label('X', (3.91,1.327), layer=68, texttype=20))
sky130_fd_sc_hd__dlygate.add(gdstk.Label('NET34', (2.242,1.26), layer=68, texttype=20))
sky130_fd_sc_hd__dlygate.add(gdstk.Label('NET34', (2.357,1.26), layer=68, texttype=20))
sky130_fd_sc_hd__dlygate.add(gdstk.Label('NET34', (2.472,1.26), layer=68, texttype=20))
sky130_fd_sc_hd__dlygate.add(gdstk.Label('NET34', (2.587,1.26), layer=68, texttype=20))
sky130_fd_sc_hd__dlygate.add(gdstk.Label('NET34', (2.702,1.26), layer=68, texttype=20))
sky130_fd_sc_hd__dlygate.add(gdstk.Label('NET34', (2.76,1.327), layer=68, texttype=20))
sky130_fd_sc_hd__dlygate.add(gdstk.Label('AB', (2.472,0.585), layer=68, texttype=20))
sky130_fd_sc_hd__dlygate.add(gdstk.Label('AB', (2.587,0.585), layer=68, texttype=20))
sky130_fd_sc_hd__dlygate.add(gdstk.Label('AB', (2.702,0.585), layer=68, texttype=20))
sky130_fd_sc_hd__dlygate.add(gdstk.Label('AB', (2.817,0.585), layer=68, texttype=20))
sky130_fd_sc_hd__dlygate.add(gdstk.Label('AB', (2.932,0.585), layer=68, texttype=20))
sky130_fd_sc_hd__dlygate.add(gdstk.Label('AB', (3.047,0.585), layer=68, texttype=20))
sky130_fd_sc_hd__dlygate.add(gdstk.Label('VGND', (3.105,0), layer=68, texttype=20))
sky130_fd_sc_hd__dlygate.add(gdstk.Label('X', (3.795,0.745), layer=68, texttype=20))
sky130_fd_sc_hd__dlygate.add(gdstk.Label('AB', (3.335,1.597), layer=68, texttype=20))
sky130_fd_sc_hd__dlygate.add(gdstk.Label('X', (3.91,1.597), layer=68, texttype=20))
sky130_fd_sc_hd__dlygate.add(gdstk.Label('AB', (3.45,1.597), layer=68, texttype=20))
sky130_fd_sc_hd__dlygate.add(gdstk.Label('NET34', (2.76,1.597), layer=68, texttype=20))
sky130_fd_sc_hd__dlygate.add(gdstk.Label('AB', (3.162,0.585), layer=68, texttype=20))
sky130_fd_sc_hd__dlygate.add(gdstk.Label('AB', (3.277,0.585), layer=68, texttype=20))
sky130_fd_sc_hd__dlygate.add(gdstk.Label('NET34', (2.76,1.26), layer=68, texttype=20))
sky130_fd_sc_hd__dlygate.add(gdstk.Label('AB', (3.335,0.652), layer=68, texttype=20))
sky130_fd_sc_hd__dlygate.add(gdstk.Label('AB', (3.335,0.732), layer=68, texttype=20))
sky130_fd_sc_hd__dlygate.add(gdstk.Label('AB', (2.415,0.585), layer=68, texttype=20))
sky130_fd_sc_hd__dlygate.add(gdstk.Label('AB', (3.45,1.26), layer=68, texttype=20))
sky130_fd_sc_hd__dlygate.add(gdstk.Label('AB', (3.335,0.8), layer=68, texttype=20))
sky130_fd_sc_hd__dlygate.add(gdstk.Label('AB', (3.335,0.922), layer=68, texttype=20))
sky130_fd_sc_hd__dlygate.add(gdstk.Label('AB', (3.335,1.057), layer=68, texttype=20))
sky130_fd_sc_hd__dlygate.add(gdstk.Label('VGND', (2.07,0), layer=68, texttype=5))
sky130_fd_sc_hd__dlygate.add(gdstk.Label('VPWR', (2.07,3.33), layer=68, texttype=5))

lib.write_gds('sky130_fd_sc_hd__dlygate4sd2_1.gds')
